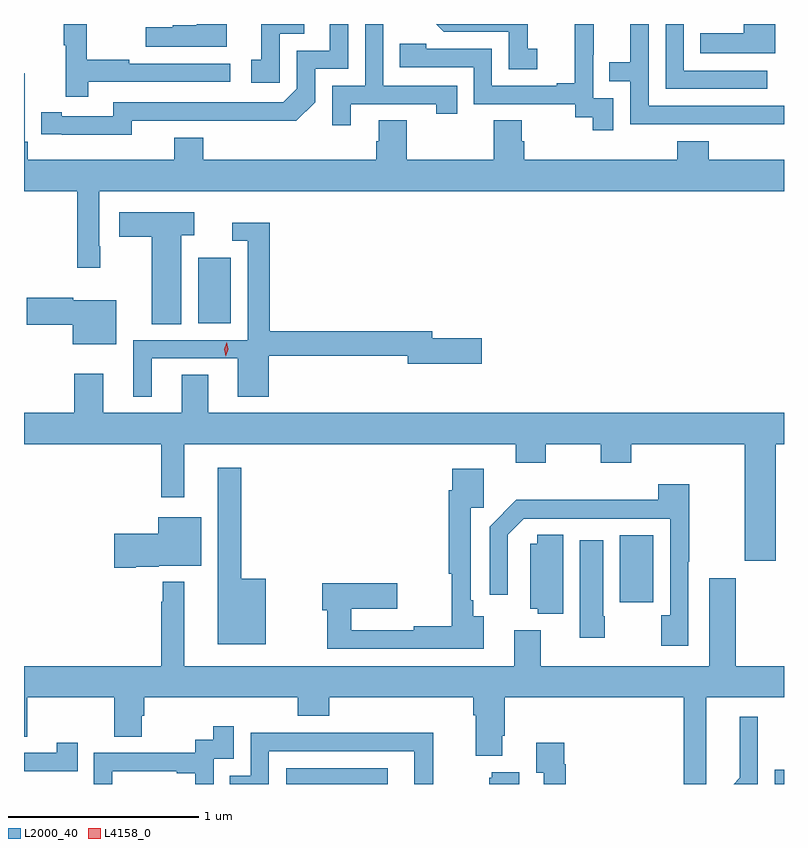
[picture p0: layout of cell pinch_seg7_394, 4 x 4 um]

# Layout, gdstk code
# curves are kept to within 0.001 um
import gdstk
lib = gdstk.Library(unit=1e-6, precision=1e-09)
def R(c, l, rs):  # rectangles x0, y0, x1, y1
    for r in rs: c.add(gdstk.rectangle(r[:2], r[2:], *l))
def P(c, l, *ps):  # polygons
    for p in ps: c.add(gdstk.Polygon(p, *l))
L2000_40 = (2000, 40)
L4158_0 = (4158, 0)

pinch_seg7_394 = lib.new_cell('pinch_seg7_394')
R(pinch_seg7_394, L2000_40, [(574.737,1028.131,575.272,1028.214), (577.31,1028.131,577.358,1028.205), (574.274,1030.556,574.447,1030.9)])
P(pinch_seg7_394, L2000_40, [(577.27,1031.886),(576.831,1031.886),(576.831,1032.131),(576.735,1032.131),(576.735,1031.79),(577.27,1031.79)],
  [(576.459,1031.739),(576.354,1031.739),(576.354,1031.969),(576.356,1031.969),(576.356,1032.131),(576.256,1032.131),(576.256,1032.101),(576.257,1032.101),(576.257,1031.818),(576.161,1031.818),(576.161,1031.805),(575.82,1031.805),(575.82,1032),(575.475,1032),(575.475,1032.027),(575.335,1032.027),(575.335,1031.904),(575.724,1031.904),(575.724,1031.709),(576.258,1031.709),(576.258,1031.641),(576.351,1031.641),(576.351,1031.571),(576.459,1031.571)],
  [(576.058,1032.001),(576.009,1032.001),(576.009,1032.131),(575.527,1032.131),(575.568,1032.09),(575.91,1032.09),(575.91,1031.892),(576.058,1031.892)],
  [(575.077,1031.709),(575.528,1031.709),(575.528,1031.658),(575.639,1031.658),(575.639,1031.805),(575.25,1031.805),(575.25,1032.131),(575.154,1032.131),(575.154,1031.805),(574.98,1031.805),(574.98,1031.598),(575.077,1031.598)],
  [(574.704,1032.081),(574.833,1032.081),(574.833,1032.131),(574.607,1032.131),(574.607,1031.943),(574.554,1031.943),(574.554,1031.823),(574.704,1031.823)],
  [(577.312,1032.131),(577.173,1032.131),(577.173,1032.129),(577.147,1032.129),(577.147,1032.082),(576.916,1032.082),(576.916,1031.978),(577.312,1031.978)],
  [(577.358,1031.7),(576.645,1031.7),(576.645,1032.131),(576.549,1032.131),(576.549,1031.93),(576.439,1031.93),(576.439,1031.829),(576.549,1031.829),(576.549,1031.604),(577.045,1031.604),(577.045,1031.603),(577.358,1031.603)],
  [(573.695,1031.826),(574.444,1031.826),(574.444,1031.922),(573.911,1031.922),(573.911,1031.942),(573.688,1031.942),(573.688,1032.131),(573.567,1032.131),(573.567,1032.019),(573.578,1032.019),(573.578,1031.748),(573.695,1031.748)],
  [(574.426,1032.131),(574.268,1032.131),(574.268,1032.125),(574.142,1032.125),(574.142,1032.115),(573.999,1032.115),(573.999,1032.011),(574.426,1032.011)],
  [(573.924,1031.622),(574.792,1031.621),(574.89,1031.718),(574.89,1031.895),(575.064,1031.895),(575.064,1032.131),(574.967,1032.131),(574.967,1031.991),(574.794,1031.991),(574.794,1031.79),(574.722,1031.718),(573.828,1031.718),(573.828,1031.646),(573.556,1031.646),(573.556,1031.666),(573.448,1031.666),(573.448,1031.55),(573.924,1031.549)],
  [(573.758,1030.96),(573.753,1030.96),(573.753,1031.252),(577.358,1031.252),(577.358,1031.416),(576.962,1031.416),(576.962,1031.515),(576.797,1031.515),(576.797,1031.416),(575.99,1031.416),(575.99,1031.514),(575.977,1031.514),(575.977,1031.624),(575.83,1031.624),(575.83,1031.416),(575.373,1031.416),(575.373,1031.624),(575.225,1031.624),(575.225,1031.514),(575.213,1031.514),(575.213,1031.416),(574.301,1031.416),(574.301,1031.533),(574.148,1031.533),(574.148,1031.416),(573.377,1031.416),(573.377,1031.512),(573.363,1031.512),(573.363,1031.872),(573.358,1031.872),(573.358,1031.252),(573.637,1031.252),(573.637,1030.848),(573.758,1030.848)],
  [(574.186,1031.018),(574.255,1031.018),(574.255,1031.14),(573.858,1031.14),(573.858,1031.011),(574.031,1031.011),(574.031,1030.552),(574.186,1030.552)],
  [(574.03,1030.371),(574.484,1030.371),(574.484,1030.17),(574.646,1030.17),(574.646,1030.386),(575.378,1030.386),(575.378,1030.343),(575.767,1030.343),(575.767,1030.478),(575.506,1030.478),(575.506,1030.514),(574.652,1030.514),(574.652,1031.086),(574.455,1031.086),(574.455,1030.989),(574.536,1030.989),(574.536,1030.467),(573.932,1030.467),(573.932,1030.17),(574.03,1030.17)],
  [(573.844,1030.678),(573.618,1030.678),(573.618,1030.691),(573.372,1030.691),(573.372,1030.549),(573.614,1030.549),(573.614,1030.445),(573.844,1030.445)],
  [(577.315,1029.92),(577.358,1029.92),(577.358,1030.084),(574.327,1030.084),(574.327,1030.286),(574.187,1030.286),(574.187,1030.084),(573.775,1030.084),(573.775,1030.291),(573.623,1030.291),(573.623,1030.084),(573.358,1030.084),(573.358,1029.92),(574.08,1029.92),(574.08,1029.639),(574.201,1029.639),(574.201,1029.92),(575.945,1029.92),(575.945,1029.821),(576.105,1029.821),(576.105,1029.92),(576.394,1029.92),(576.394,1029.821),(576.554,1029.821),(576.554,1029.92),(577.151,1029.92),(577.151,1029.305),(577.315,1029.305)],
  [(574.63,1029.211),(574.501,1029.211),(574.501,1029.796),(574.379,1029.796),(574.379,1028.867),(574.63,1028.867)],
  [(575.779,1029.014),(575.722,1029.014),(575.722,1029.097),(575.709,1029.097),(575.709,1029.585),(575.778,1029.585),(575.778,1029.79),(575.612,1029.79),(575.612,1029.677),(575.593,1029.677),(575.593,1029.237),(575.608,1029.237),(575.608,1028.96),(575.41,1028.96),(575.41,1028.94),(575.081,1028.94),(575.081,1029.053),(575.323,1029.053),(575.323,1029.188),(574.927,1029.188),(574.927,1029.046),(574.953,1029.046),(574.953,1028.844),(575.779,1028.844)],
  [(576.855,1029.301),(576.86,1029.301),(576.86,1029.709),(576.695,1029.709),(576.695,1029.626),(575.949,1029.626),(575.808,1029.484),(575.808,1029.126),(575.904,1029.126),(575.904,1029.444),(575.988,1029.528),(576.759,1029.528),(576.759,1029.019),(576.713,1029.019),(576.713,1028.859),(576.855,1028.859)],
  [(573.946,1029.275),(574.068,1029.275),(574.068,1029.281),(574.291,1029.281),(574.291,1029.535),(574.064,1029.535),(574.064,1029.447),(573.834,1029.447),(573.834,1029.269),(573.946,1029.269)],
  [(576.196,1029.443),(576.06,1029.443),(576.06,1029.396),(576.023,1029.396),(576.023,1029.053),(576.063,1029.053),(576.063,1029.026),(576.196,1029.026)],
  [(576.669,1029.19),(576.67,1029.19),(576.67,1029.439),(576.494,1029.439),(576.494,1029.087),(576.669,1029.087)],
  [(576.414,1029.013),(576.406,1029.013),(576.406,1029.415),(576.284,1029.415),(576.284,1028.901),(576.414,1028.901)],
  [(574.201,1029.196),(574.087,1029.196),(574.087,1029.089),(574.08,1029.089),(574.08,1028.752),(573.358,1028.752),(573.358,1028.38),(573.375,1028.38),(573.375,1028.588),(573.832,1028.588),(573.832,1028.38),(573.979,1028.38),(573.979,1028.49),(573.992,1028.49),(573.992,1028.588),(574.799,1028.588),(574.799,1028.489),(574.964,1028.489),(574.964,1028.588),(575.723,1028.588),(575.723,1028.492),(575.735,1028.492),(575.735,1028.279),(575.875,1028.279),(575.875,1028.386),(575.888,1028.386),(575.888,1028.588),(576.831,1028.588),(576.831,1028.131),(576.949,1028.131),(576.949,1028.588),(577.358,1028.588),(577.358,1028.752),(577.105,1028.752),(577.105,1029.214),(576.965,1029.214),(576.965,1028.752),(576.079,1028.752),(576.079,1028.941),(575.939,1028.941),(575.939,1028.752),(574.201,1028.752)],
  [(577.221,1028.485),(577.124,1028.485),(577.124,1028.266),(577.125,1028.266),(577.125,1028.163),(577.093,1028.131),(577.221,1028.131)],
  [(573.822,1028.199),(574.163,1028.199),(574.163,1028.187),(574.259,1028.187),(574.259,1028.131),(574.356,1028.131),(574.356,1028.265),(574.461,1028.265),(574.461,1028.434),(574.353,1028.434),(574.353,1028.364),(574.26,1028.364),(574.26,1028.295),(573.726,1028.295),(573.726,1028.131),(573.822,1028.131)],
  [(574.647,1028.304),(575.411,1028.304),(575.411,1028.131),(575.511,1028.131),(575.511,1028.402),(575.047,1028.402),(575.047,1028.4),(574.551,1028.4),(574.551,1028.175),(574.441,1028.175),(574.441,1028.131),(574.647,1028.131)],
  [(573.641,1028.347),(573.53,1028.347),(573.53,1028.295),(573.358,1028.295),(573.358,1028.199),(573.641,1028.199)],
  [(576.209,1028.234),(576.202,1028.234),(576.202,1028.347),(576.053,1028.347),(576.053,1028.191),(576.093,1028.191),(576.093,1028.131),(576.209,1028.131)],
  [(575.965,1028.194),(575.819,1028.194),(575.819,1028.163),(575.807,1028.163),(575.807,1028.131),(575.965,1028.131)])
P(pinch_seg7_394, L4158_0, [(574.42,1030.383),(574.412,1030.419),(574.424,1030.455),(574.424,1030.455),(574.424,1030.455),(574.432,1030.418),(574.421,1030.383),(574.421,1030.383)])

lib.write_gds('pinch_seg7_394.gds')
